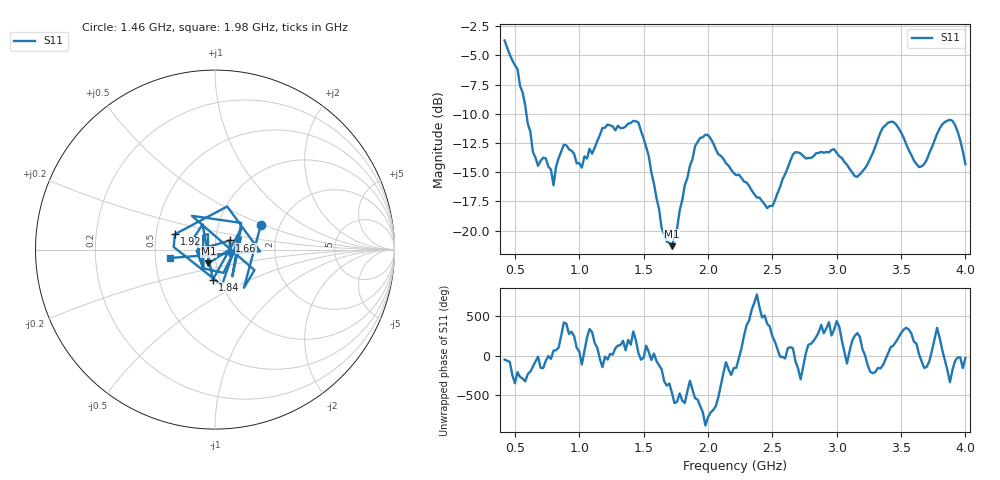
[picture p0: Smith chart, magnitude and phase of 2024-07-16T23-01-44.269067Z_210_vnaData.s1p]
!Created with skrf (http://scikit-rf.org).
# Hz S RI R 50.0
!freq ReS11 ImS11
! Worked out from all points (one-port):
!   180 points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, 420 MHz to 4 GHz, reference 50 ohm
!   lowest |S11| = -21.3 dB at 1.72 GHz (marker M1), VSWR 1.19, Z = 45.9 - j7.15 ohm
!   |S11| at or under -10 dB: 589.3 MHz to end of sweep
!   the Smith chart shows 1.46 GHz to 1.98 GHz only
!   S11 on the Smith chart (normalised r, x): 1.46 GHz: 1.60, +0.48; 1.66 GHz: 1.17, +0.12; 1.84 GHz: 0.92, -0.32; 1.92 GHz: 0.63, +0.11; 1.98 GHz: 0.59, -0.06
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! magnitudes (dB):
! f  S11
! 420 MHz  -3.7
! 520 MHz  -6.1
! 680 MHz  -14.5
! 740 MHz  -13.8
! 800 MHz  -16.1
! 880 MHz  -12.7
! 1.02 GHz  -14.6
! 1.18 GHz  -11.2
! 1.32 GHz  -11.2
! 1.46 GHz  -10.7
! 1.54 GHz  -13.6
! 1.66 GHz  -20.3
! 1.72 GHz  -21.3
! 1.78 GHz  -18.3
! 1.84 GHz  -15.5
! 1.92 GHz  -12.4
! 1.98 GHz  -11.8
! 2.22 GHz  -15.3
! 2.46 GHz  -18.1
! 2.66 GHz  -13.5
! 2.98 GHz  -13.0
! 3.12 GHz  -15.0
! 3.22 GHz  -14.7
! 3.4 GHz  -10.8
! 3.56 GHz  -13.1
! 3.66 GHz  -14.5
! 3.88 GHz  -10.5
! 4 GHz  -14.3
